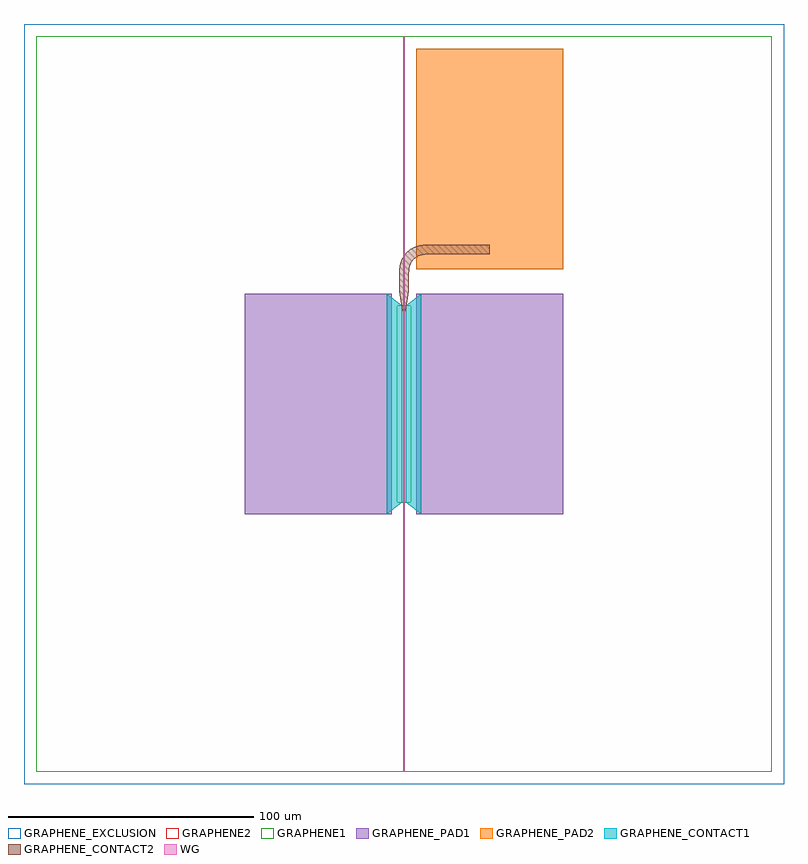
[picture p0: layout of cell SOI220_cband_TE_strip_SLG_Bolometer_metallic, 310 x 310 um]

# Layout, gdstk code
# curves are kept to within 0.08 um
import gdstk
lib = gdstk.Library(unit=1e-6, precision=1e-09)
def R(c, l, rs):  # rectangles x0, y0, x1, y1
    for r in rs: c.add(gdstk.rectangle(r[:2], r[2:], *l))
def P(c, l, *ps):  # polygons
    for p in ps: c.add(gdstk.Polygon(p, *l))
WG = (3, 0)
GRAPHENE1 = (161, 2)
GRAPHENE2 = (162, 2)
GRAPHENE_CONTACT1 = (163, 2)
GRAPHENE_CONTACT2 = (164, 2)
GRAPHENE_PAD1 = (165, 2)
GRAPHENE_PAD2 = (166, 2)
GRAPHENE_EXCLUSION = (169, 1)

soi220_cband_te_strip_sl = lib.new_cell('SOI220_cband_TE_strip_SLG_Bolometer_metallic')
R(soi220_cband_te_strip_sl, WG, [(-0.225,-150,0.225,150)])
P(soi220_cband_te_strip_sl, GRAPHENE1, [(-150,-150),(-150,40),(-2.75,40),(-2.75,-40),(2.75,-40),(2.75,40),(-150,40),(-150,150),(150,150),(150,-150)])
P(soi220_cband_te_strip_sl, GRAPHENE2, [(-150,-150),(-150,40),(-0.675,40),(-0.675,-40),(0.675,-40),(0.675,40),(-150,40),(-150,150),(150,150),(150,-150)])
P(soi220_cband_te_strip_sl, GRAPHENE_CONTACT1, [(7,-45),(0.75,-40),(0.75,40),(7,45)],
  [(-7,-45),(-7,45),(-0.75,40),(-0.75,-40)])
R(soi220_cband_te_strip_sl, GRAPHENE_CONTACT2, [(-0.675,38,0.675,40)])
P(soi220_cband_te_strip_sl, GRAPHENE_CONTACT2, [(-2,46),(-1.954,54.136),(-1.74,56.118),(-1.363,57.711),(-0.615,59.51),(0.474,61.14),(1.86,62.526),(3.708,63.728),(4.832,64.21),(6.202,64.606),(9.29,64.973),(35,65),(35,61),(9.625,60.983),(7.395,60.768),(5.507,60.155),(4.398,59.433),(3.475,58.487),(2.781,57.361),(2.333,56.076),(2.017,53.375),(2,46)],
  [(-0.675,38),(-2,46),(2,46),(0.675,38)])
R(soi220_cband_te_strip_sl, GRAPHENE_PAD1, [(-65,-45,-5,45), (5,-45,65,45)])
R(soi220_cband_te_strip_sl, GRAPHENE_PAD2, [(5,55,65,145)])
R(soi220_cband_te_strip_sl, GRAPHENE_EXCLUSION, [(-155,-155,155,155)])

lib.write_gds('SOI220_cband_TE_strip_SLG_Bolometer_metallic.gds')
